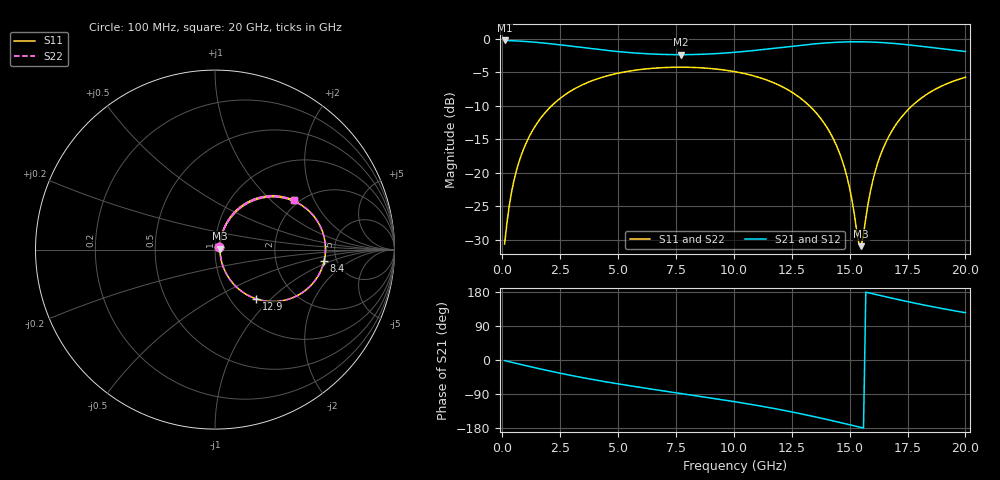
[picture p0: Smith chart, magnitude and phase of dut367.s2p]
! Touchstone file exported from HFSS 2026.1.0
!  File:  C:/ffzhzh/LocalFiles/Ansys_Project_Files/temp_train_TSV_RDL_367_1783040110_46388.aedt
!  Generated:  09:10:46 AM Jul  3, 2026
!  Design:  TSV_RDL
!  Project:  temp_train_TSV_RDL_367_1783040110_46388
! Variables:
!  h_bsmrdl = 3.35um
!  h_ox = 20um
!  h_rdl = 5um
!  h_sub = 79.35um
!  h_tmrdl = 3.03um
!  h_tsv = 79.35um
!  h_via = 3um
!  l_bsmrdl = 103.67um
!  l_sub = 3859.24um
!  l_tmrdl = 764.13um
!  m_sub = 200um
!  pitch = 51.75um
!  r_tsv = 5.72um
!  s_tmrdl = 10um
!  w_bsmrdl = 11.56um
!  w_sub = 500um
!  w_tmrdl = 19.01um
!  x_tsv_center1 = 773.635um
!  x_tsv_center2 = 888.865um
!  x_tsv_center3 = 1672.005um
!  x_tsv_center4 = 1787.235um
!  x_tsv_center5 = 2570.375um
!  x_tsv_center6 = 2685.605um
# GHz S MA R 50.000000
! Terminal data exported
! Port[1] = TM_RDL1_1_T1
! Port[2] = TM_RDL5_1_T1
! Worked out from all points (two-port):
!   200 points, 100 MHz to 20 GHz, reference 50 ohm
!   highest |S21| = -0.21 dB at 100 MHz (marker M1); lowest = -2.3 dB at 7.7 GHz (marker M2)
!   |S21| within 3 dB of the highest: start of sweep to end of sweep
!   lowest |S11| = -31.0 dB at 15.5 GHz (marker M3), VSWR 1.06, Z = 52.8 + j0.627 ohm
!   |S11| at or under -10 dB: start of sweep to 2.125 GHz; 13.27 GHz to 17.69 GHz (4.424 GHz wide, 28.6 % of centre)
!   |S22| runs from -30.9 to -4.2 dB; largest |S21 - S12| = 2.6e-14
!   S11 on the Smith chart (normalised r, x): 100 MHz: 1.05, +0.03; 8.4 GHz: 3.99, -0.78; 12.9 GHz: 1.31, -0.82; 20 GHz: 1.88, +1.41
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0.1  0.02936 34.3  0.9761 -1.5  0.9761 -1.5  0.02936 34.3
! Gamma 0 0 0 0
! Port Impedance 50 0 50 0
0.3  0.05651 59.3  0.9738 -4.5  0.9738 -4.5  0.05651 59.3
0.5  0.08691 65.0  0.9704 -7.5  0.9704 -7.5  0.08691 65.0
1.1  0.1771 64.9  0.9565 -16.1  0.9565 -16.1  0.1771 64.9
2.1  0.3132 55.2  0.9218 -29.7  0.9218 -29.7  0.3132 55.2
3.5  0.4582 39.7  0.8619 -46.9  0.8619 -46.9  0.4582 39.7
6.8  0.6095 8.2  0.7687 -80.0  0.7687 -80.0  0.6095 8.2
7.7  0.6158 0.3  0.7641 -88.2  0.7641 -88.2  0.6158 0.3
8.4  0.6118 -5.7  0.7671 -94.5  0.7671 -94.5  0.6118 -5.7
10.1  0.5677 -21.1  0.7975 -110.6  0.7975 -110.6  0.5677 -21.1
11.6  0.4805 -35.9  0.8475 -126.4  0.8475 -126.4  0.4805 -35.9
12.9  0.359 -50.0  0.8988 -142.0  0.8988 -142.0  0.359 -50.0
13.4  0.3 -55.4  0.9172 -148.5  0.9172 -148.5  0.3 -55.4
14.1  0.2071 -62.3  0.9384 -158.0  0.9384 -158.0  0.2071 -62.3
14.6  0.1353 -65.1  0.9487 -165.1  0.9487 -165.1  0.1353 -65.0
15  0.07683 -61.4  0.9532 -170.8  0.9532 -170.8  0.07688 -61.3
15.4  0.02935 -17.6  0.9543 -176.6  0.9543 -176.6  0.02949 -17.5
15.5  0.02824 12.1  0.954 -178.0  0.954 -178.0  0.02839 12.1
16  0.08715 65.0  0.949 174.8  0.949 174.8  0.0872 64.9
16.7  0.1879 65.4  0.9335 164.9  0.9335 164.9  0.1879 65.4
18  0.3513 52.7  0.8865 147.7  0.8865 147.7  0.3513 52.6
20  0.5176 32.0  0.8072 124.8  0.8072 124.8  0.5176 32.0
